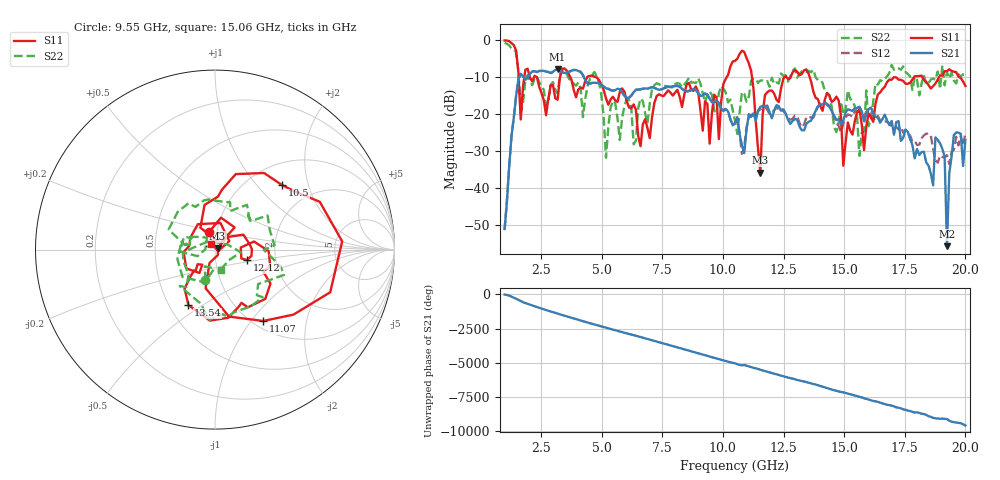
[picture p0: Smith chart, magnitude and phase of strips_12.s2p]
!Agilent Technologies,N5230A,MY45001629,A.07.50.67
!Agilent N5230A: A.07.50.67
!Date: Monday, June 05, 2017 16:29:06
!Correction: S11(Full 2 Port(1,2))
!S21(Full 2 Port(1,2))
!S12(Full 2 Port(1,2))
!S22(Full 2 Port(1,2))
!S2P File: Measurements: S11, S21, S12, S22:
# Hz S  dB  R 50
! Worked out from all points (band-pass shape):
!   201 points, 1 GHz to 20 GHz, reference 50 ohm
!   highest |S21| = -8.00 dB at 3.185 GHz (marker M1); lowest = -55.7 dB at 19.24 GHz (marker M2)
!   |S21| within 3 dB of the highest: 1.564 GHz to 4.332 GHz (2.768 GHz wide, 93.9 % of centre)
!   lowest |S11| = -35.8 dB at 11.54 GHz (marker M3), VSWR 1.03, Z = 51.5 + j0.697 ohm
!   |S11| at or under -10 dB: 4.71 GHz to 10.17 GHz (5.461 GHz wide, 73.4 % of centre); 11.2 GHz to 12.56 GHz (1.367 GHz wide, 11.5 % of centre); 13.57 GHz to 17.89 GHz (4.32 GHz wide, 27.5 % of centre)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
!   |S22| runs from -31.8 to -0.9 dB; largest |S21 - S12| = 0.039
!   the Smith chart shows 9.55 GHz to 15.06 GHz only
!   S11 on the Smith chart (normalised r, x): 9.55 GHz: 0.92, +0.18; 10.5 GHz: 1.41, +1.38; 11.07 GHz: 1.11, -1.15; 12.12 GHz: 1.42, -0.17; 13.54 GHz: 0.62, -0.44; 15.06 GHz: 0.95, +0.06
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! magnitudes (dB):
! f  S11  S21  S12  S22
! 1 GHz  -0.2  -51.1  -51.2  -0.9
! 1.57 GHz  -8.9  -10.7  -10.7  -8.6
! 3.185 GHz  -16.2  -8.0  -8.0  -14.5
! 4.23 GHz  -13.2  -9.6  -9.6  -20.9
! 6.605 GHz  -28.7  -13.4  -13.4  -15.9
! 7.365 GHz  -14.7  -13.5  -13.5  -12.0
! 9.55 GHz  -19.7  -16.9  -16.8  -14.9
! 10.5 GHz  -5.7  -22.6  -22.4  -21.9
! 11.07 GHz  -6.4  -20.1  -20.9  -15.4
! 11.54 GHz  -35.8  -18.1  -18.8  -11.0
! 11.73 GHz  -15.0  -17.9  -18.1  -11.3
! 12.12 GHz  -14.6  -19.1  -19.1  -12.0
! 13.54 GHz  -9.3  -22.1  -21.0  -8.4
! 13.73 GHz  -14.0  -20.5  -21.1  -8.1
! 15.06 GHz  -27.7  -19.6  -21.0  -18.6
! 15.63 GHz  -18.7  -18.1  -19.5  -31.3
! 16.86 GHz  -10.8  -23.0  -22.6  -9.0
! 18.95 GHz  -9.6  -28.0  -31.3  -13.3
! 19.14 GHz  -8.5  -31.6  -31.8  -12.3
! 19.24 GHz  -8.5  -55.7  -31.1  -8.7
! 19.52 GHz  -8.6  -25.7  -29.7  -11.0
! 20 GHz  -12.5  -27.1  -25.2  -9.5
